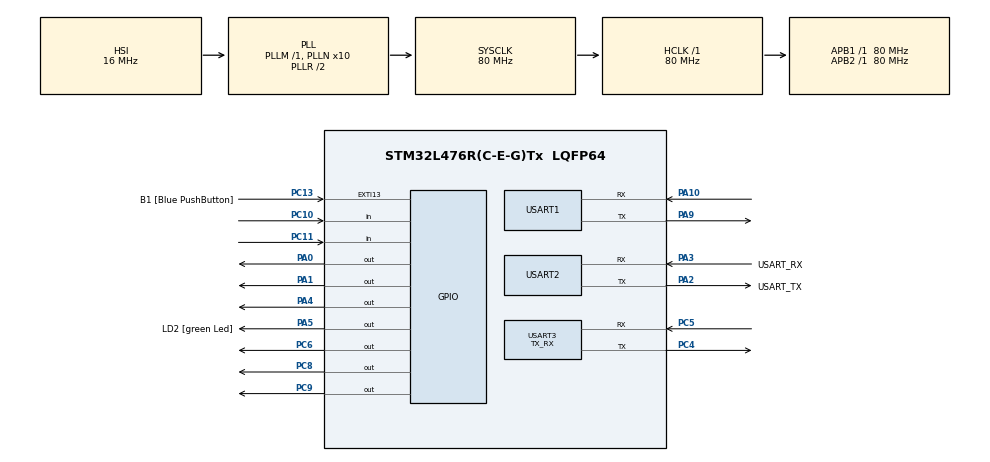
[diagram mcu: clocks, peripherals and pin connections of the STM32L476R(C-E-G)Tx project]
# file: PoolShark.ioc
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Mcu.Family=STM32L4
Mcu.Name=STM32L476R(C-E-G)Tx
Mcu.Package=LQFP64
NVIC.PriorityGroup=NVIC_PRIORITYGROUP_4
NVIC.TIM2_IRQn=true\:0\:0\:false\:false\:true\:true\:true\:true
NVIC.USART1_IRQn=true\:0\:0\:false\:false\:true\:true\:true\:true
NVIC.USART3_IRQn=true\:0\:0\:false\:false\:true\:true\:true\:true
PA0.Signal=GPIO_Output
PA1.Signal=GPIO_Output
PA10.Mode=Asynchronous
PA10.Signal=USART1_RX
PA13\ (JTMS-SWDIO).GPIO_Label=TMS
PA13\ (JTMS-SWDIO).Mode=Serial_Wire
PA13\ (JTMS-SWDIO).Signal=SYS_JTMS-SWDIO
PA14\ (JTCK-SWCLK).GPIO_Label=TCK
PA14\ (JTCK-SWCLK).Mode=Serial_Wire
PA14\ (JTCK-SWCLK).Signal=SYS_JTCK-SWCLK
PA2.GPIO_Label=USART_TX
PA2.GPIO_Mode=GPIO_MODE_AF_PP
PA2.GPIO_PuPd=GPIO_NOPULL
PA2.GPIO_Speed=GPIO_SPEED_FREQ_VERY_HIGH
PA2.Mode=Asynchronous
PA2.Signal=USART2_TX
PA3.GPIO_Label=USART_RX
PA3.GPIO_Mode=GPIO_MODE_AF_PP
PA3.GPIO_PuPd=GPIO_NOPULL
PA3.GPIO_Speed=GPIO_SPEED_FREQ_VERY_HIGH
PA3.Mode=Asynchronous
PA3.Signal=USART2_RX
PA4.Signal=GPIO_Output
PA5.GPIO_Label=LD2 [green Led]
PA5.GPIO_ModeDefaultOutputPP=GPIO_MODE_OUTPUT_PP
PA5.GPIO_PuPd=GPIO_NOPULL
PA5.GPIO_Speed=GPIO_SPEED_FREQ_LOW
PA5.Signal=GPIO_Output
PA9.Mode=Asynchronous
PA9.Signal=USART1_TX
PB3\ (JTDO-TRACESWO).GPIO_Label=SWO
PB3\ (JTDO-TRACESWO).Signal=SYS_JTDO-SWO
PC10.GPIO_PuPd=GPIO_PULLUP
PC10.Signal=GPIO_Input
PC11.GPIO_PuPd=GPIO_PULLUP
PC11.Signal=GPIO_Input
PC13.GPIO_Label=B1 [Blue PushButton]
PC13.GPIO_ModeDefaultEXTI=GPIO_MODE_IT_FALLING
PC13.GPIO_PuPd=GPIO_NOPULL
PC13.Signal=GPXTI13
PC14-OSC32_IN\ (PC14).Mode=LSE-External-Oscillator
PC14-OSC32_IN\ (PC14).Signal=RCC_OSC32_IN
PC15-OSC32_OUT\ (PC15).Mode=LSE-External-Oscillator
PC15-OSC32_OUT\ (PC15).Signal=RCC_OSC32_OUT
PC4.Mode=Asynchronous
PC4.Signal=USART3_TX
PC5.Mode=Asynchronous
PC5.Signal=USART3_RX
PC6.Signal=GPIO_Output
PC8.Signal=GPIO_Output
PC9.Signal=GPIO_Output
PH0-OSC_IN\ (PH0).Signal=RCC_OSC_IN
PH1-OSC_OUT\ (PH1).Signal=RCC_OSC_OUT
ProjectManager.HeapSize=0x200
ProjectManager.StackSize=0x400
ProjectManager.TargetToolchain=STM32CubeIDE
RCC.ADCFreq_Value=64000000
RCC.AHBFreq_Value=80000000
RCC.APB1Freq_Value=80000000
RCC.APB1TimFreq_Value=80000000
RCC.APB2Freq_Value=80000000
RCC.APB2TimFreq_Value=80000000
RCC.CortexFreq_Value=80000000
RCC.HCLKFreq_Value=80000000
RCC.HSE_VALUE=8000000
RCC.HSI_VALUE=16000000
RCC.MSI_VALUE=4000000
RCC.PLLN=10
RCC.PLLSourceVirtual=RCC_PLLSOURCE_HSI
RCC.PREFETCH_ENABLE=1
RCC.SYSCLKFreq_VALUE=80000000
RCC.SYSCLKSource=RCC_SYSCLKSOURCE_PLLCLK
RCC.USBFreq_Value=64000000
RCC.VCOOutputFreq_Value=160000000
TIM2.AutoReloadPreload=TIM_AUTORELOAD_PRELOAD_ENABLE
TIM2.Period=5000
TIM2.Prescaler=79
USART1.VirtualMode-Asynchronous=VM_ASYNC
USART2.VirtualMode-Asynchronous=VM_ASYNC
USART3.Mode=MODE_TX_RX
USART3.VirtualMode-Asynchronous=VM_ASYNC
VP_TIM2_VS_ClockSourceINT.Mode=Internal
board=NUCLEO-L476RG

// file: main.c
/* USER CODE BEGIN Header */
/**
  ******************************************************************************
  * @file           : main.c
  * @brief          : Main program body
  ******************************************************************************
  * @attention
  *
  * Copyright (c) 2024 STMicroelectronics.
  * All rights reserved.
  *
  * This software is licensed under terms that can be found in the LICENSE file
  * in the root directory of this software component.
  * If no LICENSE file comes with this software, it is provided AS-IS.
  *
  ******************************************************************************
  */
/* USER CODE END Header */
#include "main.h"

/* USER CODE BEGIN Includes */
#include <stdbool.h>
#include "string.h"
#include <stdlib.h>
/* USER CODE END Includes */

/* USER CODE BEGIN PD */
#define BUFFER_SIZE 100
char ip_buffer[BUFFER_SIZE];
/* USER CODE END PD */

TIM_HandleTypeDef htim2;

UART_HandleTypeDef huart1;
UART_HandleTypeDef huart2;
UART_HandleTypeDef huart3;

void SystemClock_Config(void);
static void MX_GPIO_Init(void);
static void MX_USART2_UART_Init(void);
static void MX_TIM2_Init(void);
static void MX_USART1_UART_Init(void);
static void MX_USART3_UART_Init(void);

/* USER CODE BEGIN 0 */
#define STEPS_PER_REV 3200
char command;

void delay_us(uint32_t us) {
    __HAL_TIM_SET_COUNTER(&htim2, 0);  // Reset TIM2 counter
    while (__HAL_TIM_GET_COUNTER(&htim2) < us);  // Wait for the timer to reach the input value
}

void stepperMove(bool direction, uint16_t steps) {
	// Set direction pin (PA0)
    HAL_GPIO_WritePin(GPIOA, GPIO_PIN_0, direction);

    for (uint16_t i = 0; i < steps; i++) {
        // Generate step pulse
        HAL_GPIO_WritePin(GPIOA, GPIO_PIN_1, GPIO_PIN_SET);  // Step pin high
        delay_us(2000);  // Delay for 1 ms (adjust for timing)

        HAL_GPIO_WritePin(GPIOA, GPIO_PIN_1, GPIO_PIN_SET);  // Step pin low
        delay_us(2000);  // Delay for 1 ms (adjust for timing)
    }
}

void stepperMoveShoot(bool direction, uint16_t steps) {
	// Set direction pin (PA0)
    HAL_GPIO_WritePin(GPIOC, GPIO_PIN_9, direction);

    for (uint16_t i = 0; i < steps; i++) {
        // Generate step pulse
        HAL_GPIO_WritePin(GPIOC, GPIO_PIN_6, GPIO_PIN_SET);  // Step pin high
        delay_us(2000);  // Delay for 1 ms (adjust for timing)

        HAL_GPIO_WritePin(GPIOC, GPIO_PIN_6, GPIO_PIN_RESET);  // Step pin low
        delay_us(2000);  // Delay for 1 ms (adjust for timing)
    }
}

void homeAndCenterStepper() {
	HAL_GPIO_WritePin(GPIOA, GPIO_PIN_4, GPIO_PIN_RESET);  // Enable motor driver (EN LOW)
    uint16_t stepCount = 0;

    // Move left until left limit switch is pressed, count steps
    while (HAL_GPIO_ReadPin(GPIOC, GPIO_PIN_10) != GPIO_PIN_RESET) {
        stepperMove(true, 5);  // Move left
        stepCount+=5;
    }

    // Move right until right limit switch is pressed, count steps
    uint16_t totalSteps = 0;
    while (HAL_GPIO_ReadPin(GPIOC, GPIO_PIN_11) != GPIO_PIN_RESET) {
        stepperMove(false, 5);  // Move right
        totalSteps+=5;
    }

    // Move back to the middle
    uint16_t stepsToCenter = totalSteps / 2;
    stepperMove(true, stepsToCenter);  // Move back to the middle

    HAL_GPIO_WritePin(GPIOA, GPIO_PIN_4, GPIO_PIN_SET);  // Disable motor driver (EN HIGH)
}

bool Receive_IP_Address(char *buffer, uint16_t buffer_size)
{
  uint16_t index = 0;
  uint8_t rx_byte;
  uint32_t start_time = HAL_GetTick();
  uint32_t timeout = 5000; // Timeout in milliseconds

  // Receive the IP address (assumed to be terminated with '\n')
  while (HAL_GetTick() - start_time < timeout && index < buffer_size - 1)
  {
    if (HAL_UART_Receive(&huart1, &rx_byte, 1, 100) == HAL_OK)
    {
      if (rx_byte == '\n')
      {
        buffer[index] = '\0'; // Null-terminate the string
        return true;
      }
      else if (rx_byte != '\r')
      {
        buffer[index++] = rx_byte;
      }
    }
  }

  // If the IP address was not fully received, return false
  return false;
}

void getAndSendIP() {
	  command = 'R';
	  HAL_UART_Transmit(&huart1, (uint8_t *)&command, 1, HAL_MAX_DELAY);

	  // Wait for response from ESP32-CAM
	  memset(ip_buffer, 0, BUFFER_SIZE); // Clear the buffer

	  // Receive the IP address
	  if (Receive_IP_Address(ip_buffer, BUFFER_SIZE))
	  {
		// Send the IP address to the laptop via USART2
		HAL_UART_Transmit(&huart2, (uint8_t *)ip_buffer, strlen(ip_buffer), HAL_MAX_DELAY);
		HAL_UART_Transmit(&huart2, (uint8_t *)"\r\n", 2, HAL_MAX_DELAY);
	  }
	  else
	  {
		// Handle error (e.g., timeout)
		HAL_UART_Transmit(&huart2, (uint8_t *)"Failed to receive IP address.\r\n", 31, HAL_MAX_DELAY);
	  }
}

int getAngleFromPC(void)
{
  char rx_buffer[100];  // Buffer to store received data
  uint8_t index = 0;
  uint8_t rx_byte;
  int angle = 0;
  uint32_t start_time = HAL_GetTick();
  uint32_t timeout = 10000;  // 10 seconds timeout

  // Receive data until newline or timeout
  while ((HAL_GetTick() - start_time) < timeout)
  {
    if (HAL_UART_Receive(&huart2, &rx_byte, 1, 100) == HAL_OK)
    {
      if (rx_byte == '\r' || rx_byte == '\n')
      {
        if (index > 0) // Only process if we have received some data
        {
          rx_buffer[index] = '\0';  // Null-terminate the string

          // Parse the angle
          angle = atoi(rx_buffer);

          // Break out of the loop since we have received the angle
          return angle;
        }
        else
        {
          // Ignore empty lines
          continue;
        }
      }
      else
      {
        if (index < sizeof(rx_buffer) - 1)
        {
          rx_buffer[index++] = rx_byte;
        }
        else
        {
          // Buffer overflow
          char *error_msg = "Input too long. Please enter a shorter value:\r\n";
          HAL_UART_Transmit(&huart2, (uint8_t *)error_msg, strlen(error_msg), HAL_MAX_DELAY);
          // Reset index and buffer
          index = 0;
          memset(rx_buffer, 0, sizeof(rx_buffer));
          start_time = HAL_GetTick();  // Reset timeout
        }
      }
    }
  }

  // Timeout occurred
  char *timeout_msg = "Timeout occurred. Using default angle 1.\r\n";
  HAL_UART_Transmit(&huart2, (uint8_t *)timeout_msg, strlen(timeout_msg), HAL_MAX_DELAY);
  return 1;  // Default angle
}

/* USER CODE END 0 */

int main(void)
{

  /* MCU Configuration--------------------------------------------------------*/

  /* Reset of all peripherals, Initializes the Flash interface and the Systick. */
  HAL_Init();

  /* Configure the system clock */
  SystemClock_Config();

  /* Initialize all configured peripherals */
  MX_GPIO_Init();
  MX_USART2_UART_Init();
  MX_TIM2_Init();
  MX_USART1_UART_Init();
  MX_USART3_UART_Init();
  /* USER CODE BEGIN 2 */
  HAL_GPIO_WritePin(GPIOA, GPIO_PIN_4, GPIO_PIN_SET);
  HAL_GPIO_WritePin(GPIOC, GPIO_PIN_8, GPIO_PIN_SET);
  HAL_TIM_Base_Start(&htim2);
  /* USER CODE END 2 */

  /* Infinite loop */
  while (1)
  {

    /* USER CODE BEGIN 3 */
	  if (HAL_GPIO_ReadPin(GPIOC, GPIO_PIN_13) == GPIO_PIN_RESET)  // Button is pressed
	  {
		  // HOME
		  HAL_Delay(500);
		  char commandh[] = "H\n";
		  HAL_UART_Transmit(&huart3, (uint8_t *)commandh, sizeof(commandh) - 1, HAL_MAX_DELAY);
		  HAL_Delay(6000);

		  // GET & SEND IP TO COMPUTER
		  getAndSendIP();

		  // RECIEVE ANGLE
		  int angle = getAngleFromPC();

		  // SEND ANGLE
		  char angle_str[12];
		  sprintf(angle_str, "%d\n", angle);
		  HAL_UART_Transmit(&huart3, (uint8_t *)angle_str, strlen(angle_str), HAL_MAX_DELAY);
		  HAL_Delay(4000);

		  // SHOOT
		  char commands[] = "S\n";
		  HAL_UART_Transmit(&huart3, (uint8_t *)commands, sizeof(commands) - 1, HAL_MAX_DELAY);
		  HAL_Delay(5000);
	  }

	  HAL_Delay(100);

  }
  /* USER CODE END 3 */
}

void SystemClock_Config(void)
{
  RCC_OscInitTypeDef RCC_OscInitStruct = {0};
  RCC_ClkInitTypeDef RCC_ClkInitStruct = {0};

  /** Configure the main internal regulator output voltage
  */
  if (HAL_PWREx_ControlVoltageScaling(PWR_REGULATOR_VOLTAGE_SCALE1) != HAL_OK)
  {
    Error_Handler();
  }

  /** Initializes the RCC Oscillators according to the specified parameters
  * in the RCC_OscInitTypeDef structure.
  */
  RCC_OscInitStruct.OscillatorType = RCC_OSCILLATORTYPE_HSI;
  RCC_OscInitStruct.HSIState = RCC_HSI_ON;
  RCC_OscInitStruct.HSICalibrationValue = RCC_HSICALIBRATION_DEFAULT;
  RCC_OscInitStruct.PLL.PLLState = RCC_PLL_ON;
  RCC_OscInitStruct.PLL.PLLSource = RCC_PLLSOURCE_HSI;
  RCC_OscInitStruct.PLL.PLLM = 1;
  RCC_OscInitStruct.PLL.PLLN = 10;
  RCC_OscInitStruct.PLL.PLLP = RCC_PLLP_DIV7;
  RCC_OscInitStruct.PLL.PLLQ = RCC_PLLQ_DIV2;
  RCC_OscInitStruct.PLL.PLLR = RCC_PLLR_DIV2;
  if (HAL_RCC_OscConfig(&RCC_OscInitStruct) != HAL_OK)
  {
    Error_Handler();
  }

  /** Initializes the CPU, AHB and APB buses clocks
  */
  RCC_ClkInitStruct.ClockType = RCC_CLOCKTYPE_HCLK|RCC_CLOCKTYPE_SYSCLK
                              |RCC_CLOCKTYPE_PCLK1|RCC_CLOCKTYPE_PCLK2;
  RCC_ClkInitStruct.SYSCLKSource = RCC_SYSCLKSOURCE_PLLCLK;
  RCC_ClkInitStruct.AHBCLKDivider = RCC_SYSCLK_DIV1;
  RCC_ClkInitStruct.APB1CLKDivider = RCC_HCLK_DIV1;
  RCC_ClkInitStruct.APB2CLKDivider = RCC_HCLK_DIV1;

  if (HAL_RCC_ClockConfig(&RCC_ClkInitStruct, FLASH_LATENCY_4) != HAL_OK)
  {
    Error_Handler();
  }
}

static void MX_TIM2_Init(void)
{

  TIM_ClockConfigTypeDef sClockSourceConfig = {0};
  TIM_MasterConfigTypeDef sMasterConfig = {0};

  htim2.Instance = TIM2;
  htim2.Init.Prescaler = 79;
  htim2.Init.CounterMode = TIM_COUNTERMODE_UP;
  htim2.Init.Period = 5000;
  htim2.Init.ClockDivision = TIM_CLOCKDIVISION_DIV1;
  htim2.Init.AutoReloadPreload = TIM_AUTORELOAD_PRELOAD_ENABLE;
  if (HAL_TIM_Base_Init(&htim2) != HAL_OK)
  {
    Error_Handler();
  }
  sClockSourceConfig.ClockSource = TIM_CLOCKSOURCE_INTERNAL;
  if (HAL_TIM_ConfigClockSource(&htim2, &sClockSourceConfig) != HAL_OK)
  {
    Error_Handler();
  }
  sMasterConfig.MasterOutputTrigger = TIM_TRGO_RESET;
  sMasterConfig.MasterSlaveMode = TIM_MASTERSLAVEMODE_DISABLE;
  if (HAL_TIMEx_MasterConfigSynchronization(&htim2, &sMasterConfig) != HAL_OK)
  {
    Error_Handler();
  }

}

static void MX_USART1_UART_Init(void)
{

  huart1.Instance = USART1;
  huart1.Init.BaudRate = 115200;
  huart1.Init.WordLength = UART_WORDLENGTH_8B;
  huart1.Init.StopBits = UART_STOPBITS_1;
  huart1.Init.Parity = UART_PARITY_NONE;
  huart1.Init.Mode = UART_MODE_TX_RX;
  huart1.Init.HwFlowCtl = UART_HWCONTROL_NONE;
  huart1.Init.OverSampling = UART_OVERSAMPLING_16;
  huart1.Init.OneBitSampling = UART_ONE_BIT_SAMPLE_DISABLE;
  huart1.AdvancedInit.AdvFeatureInit = UART_ADVFEATURE_NO_INIT;
  if (HAL_UART_Init(&huart1) != HAL_OK)
  {
    Error_Handler();
  }

}

static void MX_USART2_UART_Init(void)
{

  huart2.Instance = USART2;
  huart2.Init.BaudRate = 115200;
  huart2.Init.WordLength = UART_WORDLENGTH_8B;
  huart2.Init.StopBits = UART_STOPBITS_1;
  huart2.Init.Parity = UART_PARITY_NONE;
  huart2.Init.Mode = UART_MODE_TX_RX;
  huart2.Init.HwFlowCtl = UART_HWCONTROL_NONE;
  huart2.Init.OverSampling = UART_OVERSAMPLING_16;
  huart2.Init.OneBitSampling = UART_ONE_BIT_SAMPLE_DISABLE;
  huart2.AdvancedInit.AdvFeatureInit = UART_ADVFEATURE_NO_INIT;
  if (HAL_UART_Init(&huart2) != HAL_OK)
  {
    Error_Handler();
  }

}

static void MX_USART3_UART_Init(void)
{

  huart3.Instance = USART3;
  huart3.Init.BaudRate = 115200;
  huart3.Init.WordLength = UART_WORDLENGTH_8B;
  huart3.Init.StopBits = UART_STOPBITS_1;
  huart3.Init.Parity = UART_PARITY_NONE;
  huart3.Init.Mode = UART_MODE_TX_RX;
  huart3.Init.HwFlowCtl = UART_HWCONTROL_NONE;
  huart3.Init.OverSampling = UART_OVERSAMPLING_16;
  huart3.Init.OneBitSampling = UART_ONE_BIT_SAMPLE_DISABLE;
  huart3.AdvancedInit.AdvFeatureInit = UART_ADVFEATURE_NO_INIT;
  if (HAL_UART_Init(&huart3) != HAL_OK)
  {
    Error_Handler();
  }

}

static void MX_GPIO_Init(void)
{
  GPIO_InitTypeDef GPIO_InitStruct = {0};

  /* GPIO Ports Clock Enable */
  __HAL_RCC_GPIOC_CLK_ENABLE();
  __HAL_RCC_GPIOH_CLK_ENABLE();
  __HAL_RCC_GPIOA_CLK_ENABLE();
  __HAL_RCC_GPIOB_CLK_ENABLE();

  /*Configure GPIO pin Output Level */
  HAL_GPIO_WritePin(GPIOA, GPIO_PIN_0|GPIO_PIN_1|GPIO_PIN_4|LD2_Pin, GPIO_PIN_RESET);

  /*Configure GPIO pin Output Level */
  HAL_GPIO_WritePin(GPIOC, GPIO_PIN_6|GPIO_PIN_8|GPIO_PIN_9, GPIO_PIN_RESET);

  /*Configure GPIO pin : B1_Pin */
  GPIO_InitStruct.Pin = B1_Pin;
  GPIO_InitStruct.Mode = GPIO_MODE_IT_FALLING;
  GPIO_InitStruct.Pull = GPIO_NOPULL;
  HAL_GPIO_Init(B1_GPIO_Port, &GPIO_InitStruct);

  /*Configure GPIO pins : PA0 PA1 PA4 LD2_Pin */
  GPIO_InitStruct.Pin = GPIO_PIN_0|GPIO_PIN_1|GPIO_PIN_4|LD2_Pin;
  GPIO_InitStruct.Mode = GPIO_MODE_OUTPUT_PP;
  GPIO_InitStruct.Pull = GPIO_NOPULL;
  GPIO_InitStruct.Speed = GPIO_SPEED_FREQ_LOW;
  HAL_GPIO_Init(GPIOA, &GPIO_InitStruct);

  /*Configure GPIO pins : PC6 PC8 PC9 */
  GPIO_InitStruct.Pin = GPIO_PIN_6|GPIO_PIN_8|GPIO_PIN_9;
  GPIO_InitStruct.Mode = GPIO_MODE_OUTPUT_PP;
  GPIO_InitStruct.Pull = GPIO_NOPULL;
  GPIO_InitStruct.Speed = GPIO_SPEED_FREQ_LOW;
  HAL_GPIO_Init(GPIOC, &GPIO_InitStruct);

  /*Configure GPIO pins : PC10 PC11 */
  GPIO_InitStruct.Pin = GPIO_PIN_10|GPIO_PIN_11;
  GPIO_InitStruct.Mode = GPIO_MODE_INPUT;
  GPIO_InitStruct.Pull = GPIO_PULLUP;
  HAL_GPIO_Init(GPIOC, &GPIO_InitStruct);

}

void Error_Handler(void)
{
  __disable_irq();
  while (1)
  {
  }
}
